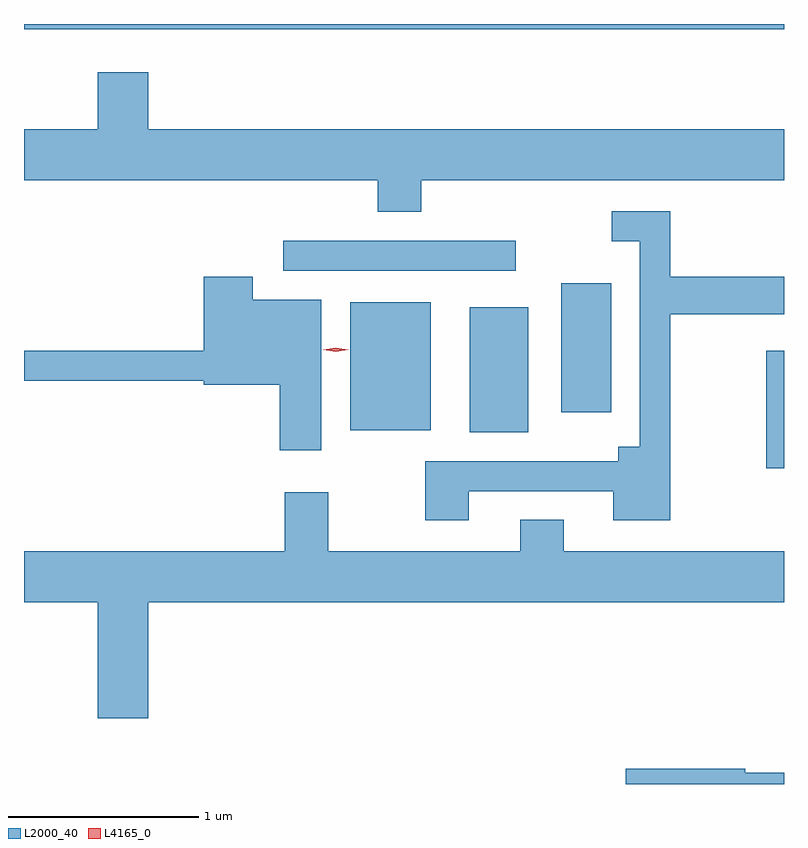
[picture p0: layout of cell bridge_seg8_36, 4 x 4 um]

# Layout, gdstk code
import gdstk
lib = gdstk.Library(unit=1e-6, precision=1e-09)
def R(c, l, rs):  # rectangles x0, y0, x1, y1
    for r in rs: c.add(gdstk.rectangle(r[:2], r[2:], *l))
def P(c, l, *ps):  # polygons
    for p in ps: c.add(gdstk.Polygon(p, *l))
L2000_40 = (2000, 40)
L4165_0 = (4165, 0)

bridge_seg8_36 = lib.new_cell('bridge_seg8_36')
R(bridge_seg8_36, L2000_40, [(1497.316,1937.021,1497.409,1937.639), (1495.756,1937.211,1496.064,1937.869), (1495.126,1937.221,1495.549,1937.894), (1496.236,1937.316,1496.499,1937.994), (1494.773,1938.061,1495.998,1938.219), (1493.409,1939.331,1497.409,1939.359)])
P(bridge_seg8_36, L2000_40, [(1495.499,1938.536),(1497.409,1938.536),(1497.409,1938.804),(1494.064,1938.804),(1494.064,1939.104),(1493.796,1939.104),(1493.796,1938.804),(1493.409,1938.804),(1493.409,1938.536),(1495.271,1938.536),(1495.271,1938.371),(1495.499,1938.371)],
  [(1495.749,1936.901),(1496.511,1936.901),(1496.511,1936.746),(1496.809,1936.746),(1496.809,1937.831),(1497.409,1937.831),(1497.409,1938.029),(1496.809,1938.029),(1496.809,1938.374),(1496.503,1938.374),(1496.503,1938.216),(1496.651,1938.216),(1496.651,1937.134),(1496.536,1937.134),(1496.536,1937.059),(1495.521,1937.059),(1495.521,1936.746),(1495.749,1936.746)],
  [(1494.974,1937.909),(1494.614,1937.909),(1494.614,1938.029),(1494.356,1938.029),(1494.356,1937.639),(1493.409,1937.639),(1493.409,1937.481),(1494.356,1937.481),(1494.356,1937.461),(1494.756,1937.461),(1494.756,1937.116),(1494.974,1937.116)],
  [(1494.064,1936.316),(1497.409,1936.316),(1497.409,1936.584),(1496.249,1936.584),(1496.249,1936.749),(1496.021,1936.749),(1496.021,1936.584),(1495.009,1936.584),(1495.009,1936.894),(1494.781,1936.894),(1494.781,1936.584),(1493.409,1936.584),(1493.409,1936.316),(1493.796,1936.316),(1493.796,1935.706),(1494.064,1935.706)],
  [(1497.409,1935.419),(1497.204,1935.419),(1497.204,1935.439),(1496.576,1935.439),(1496.576,1935.359),(1497.409,1935.359)])
P(bridge_seg8_36, L4165_0, [(1495.05,1937.634),(1494.983,1937.644),(1494.983,1937.645),(1494.983,1937.645),(1495.05,1937.654),(1495.116,1937.644),(1495.116,1937.644),(1495.116,1937.644)])

lib.write_gds('bridge_seg8_36.gds')
